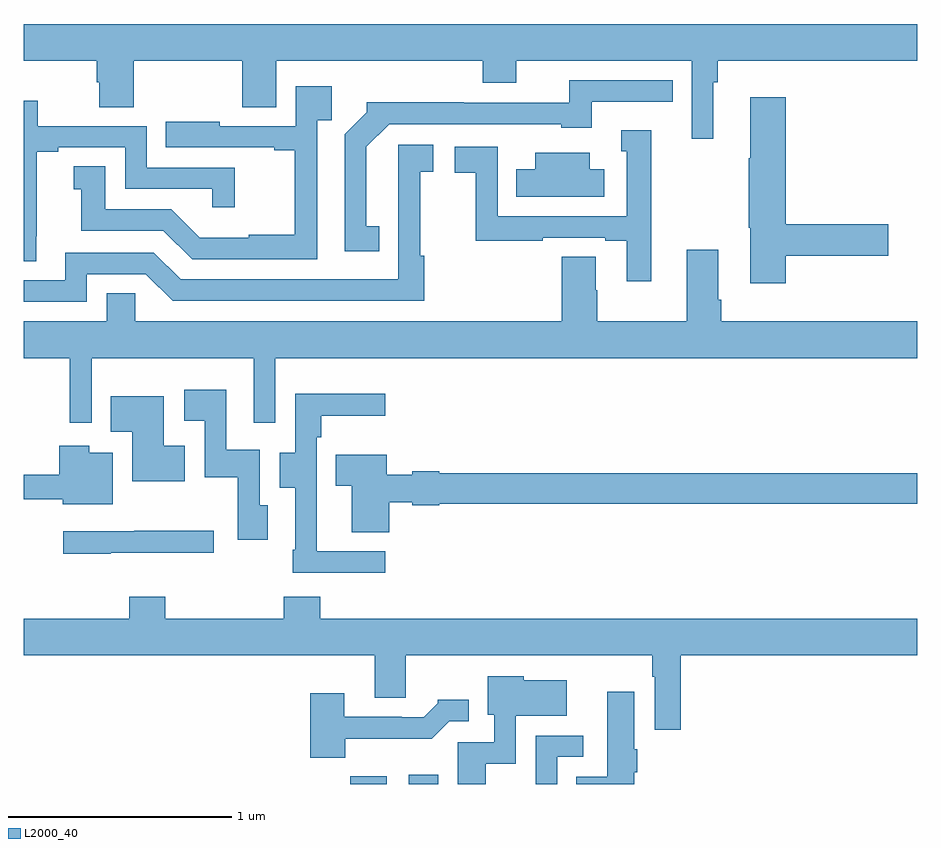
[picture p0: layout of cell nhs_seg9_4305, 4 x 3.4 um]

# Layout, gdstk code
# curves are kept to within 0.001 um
import gdstk
lib = gdstk.Library(unit=1e-6, precision=1e-09)
def R(c, l, rs):  # rectangles x0, y0, x1, y1
    for r in rs: c.add(gdstk.rectangle(r[:2], r[2:], *l))
def P(c, l, *ps):  # polygons
    for p in ps: c.add(gdstk.Polygon(p, *l))
L2000_40 = (2000, 40)

nhs_seg9_4305 = lib.new_cell('nhs_seg9_4305')
R(nhs_seg9_4305, L2000_40, [(358.462,1206.5,358.624,1206.535), (358.724,1206.5,358.855,1206.541)])
P(nhs_seg9_4305, L2000_40, [(360.088,1209.644),(360.107,1209.644),(360.107,1209.74),(361,1209.74),(361,1209.904),(357,1209.904),(357,1209.74),(357.326,1209.74),(357.326,1209.642),(357.338,1209.642),(357.338,1209.532),(357.491,1209.532),(357.491,1209.74),(357.977,1209.74),(357.977,1209.532),(358.129,1209.532),(358.129,1209.74),(359.054,1209.74),(359.054,1209.641),(359.206,1209.641),(359.206,1209.74),(359.991,1209.74),(359.991,1209.39),(360.088,1209.39)],
  [(358.592,1208.999),(358.534,1208.999),(358.534,1209.355),(358.635,1209.456),(359.406,1209.456),(359.406,1209.44),(359.542,1209.44),(359.542,1209.555),(359.906,1209.555),(359.906,1209.651),(359.443,1209.651),(359.443,1209.552),(358.97,1209.552),(358.97,1209.554),(358.536,1209.554),(358.536,1209.509),(358.437,1209.41),(358.437,1208.886),(358.592,1208.886)],
  [(358.314,1209.473),(358.379,1209.473),(358.379,1209.625),(358.218,1209.625),(358.218,1209.447),(357.877,1209.447),(357.877,1209.466),(357.634,1209.466),(357.634,1209.351),(358.121,1209.351),(358.121,1209.339),(358.213,1209.339),(358.213,1208.959),(358.007,1208.959),(358.007,1208.947),(357.788,1208.947),(357.66,1209.075),(357.364,1209.075),(357.364,1209.266),(357.224,1209.266),(357.224,1209.163),(357.257,1209.163),(357.257,1208.979),(357.624,1208.979),(357.753,1208.85),(358.314,1208.85)],
  [(360.413,1208.866),(360.871,1208.866),(360.871,1209.008),(360.413,1209.008),(360.413,1209.577),(360.254,1209.577),(360.254,1209.302),(360.247,1209.302),(360.247,1208.991),(360.254,1208.991),(360.254,1208.742),(360.413,1208.742)],
  [(357.056,1208.953),(357.058,1208.953),(357.058,1209.331),(357.154,1209.331),(357.154,1209.351),(357.453,1209.351),(357.453,1209.165),(357.843,1209.165),(357.843,1209.084),(357.944,1209.084),(357.944,1209.261),(357.549,1209.261),(357.549,1209.447),(357.062,1209.447),(357.062,1209.561),(357,1209.561),(357,1208.842),(357.056,1208.842)],
  [(359.809,1209.427),(359.675,1209.427),(359.675,1209.333),(359.7,1209.333),(359.7,1209.042),(359.121,1209.042),(359.121,1209.354),(358.929,1209.354),(358.929,1209.238),(359.023,1209.238),(359.023,1208.934),(359.324,1208.934),(359.324,1208.946),(359.603,1208.946),(359.603,1208.934),(359.699,1208.934),(359.699,1208.751),(359.809,1208.751)],
  [(357.282,1208.784),(357.546,1208.784),(357.666,1208.664),(358.793,1208.664),(358.793,1208.867),(358.776,1208.867),(358.776,1209.243),(358.834,1209.243),(358.834,1209.364),(358.676,1209.364),(358.677,1208.76),(357.702,1208.76),(357.582,1208.88),(357.186,1208.88),(357.186,1208.757),(357,1208.757),(357,1208.661),(357.282,1208.661)],
  [(359.599,1209.253),(359.533,1209.253),(359.533,1209.328),(359.291,1209.328),(359.291,1209.253),(359.206,1209.253),(359.206,1209.131),(359.599,1209.131)],
  [(357.303,1208.408),(358.029,1208.408),(358.029,1208.118),(358.125,1208.118),(358.125,1208.408),(361,1208.408),(361,1208.572),(360.122,1208.572),(360.122,1208.668),(360.109,1208.668),(360.109,1208.893),(359.969,1208.893),(359.969,1208.572),(359.568,1208.572),(359.568,1208.711),(359.56,1208.711),(359.56,1208.861),(359.408,1208.861),(359.408,1208.572),(357.498,1208.572),(357.498,1208.699),(357.371,1208.699),(357.371,1208.572),(357,1208.572),(357,1208.408),(357.205,1208.408),(357.205,1208.118),(357.303,1208.118)],
  [(358.093,1207.749),(358.056,1207.749),(358.056,1207.996),(357.906,1207.996),(357.906,1208.266),(357.717,1208.266),(357.717,1208.126),(357.81,1208.126),(357.81,1207.874),(357.958,1207.874),(357.958,1207.593),(358.093,1207.593)],
  [(358.618,1207.542),(358.312,1207.542),(358.312,1207.739),(358.311,1207.739),(358.311,1208.054),(358.331,1208.054),(358.331,1208.15),(358.618,1208.15),(358.618,1208.248),(358.215,1208.248),(358.215,1207.983),(358.145,1207.983),(358.145,1207.828),(358.215,1207.828),(358.215,1207.549),(358.203,1207.549),(358.203,1207.446),(358.618,1207.446)],
  [(357.721,1208.014),(357.625,1208.014),(357.625,1208.236),(357.388,1208.236),(357.388,1208.078),(357.485,1208.078),(357.485,1207.856),(357.721,1207.856)],
  [(357.397,1207.984),(357.292,1207.984),(357.292,1208.014),(357.158,1208.014),(357.158,1207.885),(357,1207.885),(357,1207.775),(357.174,1207.775),(357.174,1207.754),(357.397,1207.754)],
  [(358.637,1207.763),(358.74,1207.763),(358.74,1207.748),(358.86,1207.748),(358.86,1207.756),(361,1207.756),(361,1207.892),(358.86,1207.892),(358.86,1207.9),(358.74,1207.9),(358.74,1207.885),(358.624,1207.885),(358.624,1207.975),(358.396,1207.975),(358.396,1207.835),(358.469,1207.835),(358.469,1207.627),(358.637,1207.627)],
  [(357.389,1207.535),(357.85,1207.535),(357.85,1207.635),(357.493,1207.635),(357.493,1207.632),(357.177,1207.632),(357.177,1207.531),(357.389,1207.531)],
  [(358.328,1207.339),(358.163,1207.339),(358.163,1207.24),(357.632,1207.24),(357.632,1207.339),(357.472,1207.339),(357.472,1207.24),(357,1207.24),(357,1207.076),(358.571,1207.076),(358.571,1206.886),(358.711,1206.886),(358.711,1207.076),(359.814,1207.076),(359.814,1206.98),(359.826,1206.98),(359.826,1206.744),(359.942,1206.744),(359.942,1207.076),(361,1207.076),(361,1207.24),(358.328,1207.24)],
  [(359.068,1206.59),(359.202,1206.59),(359.202,1206.806),(359.431,1206.806),(359.431,1206.964),(359.238,1206.964),(359.238,1206.982),(359.078,1206.982),(359.078,1206.81),(359.106,1206.81),(359.106,1206.687),(358.943,1206.687),(358.943,1206.5),(359.068,1206.5)],
  [(359.734,1206.553),(359.747,1206.553),(359.747,1206.656),(359.734,1206.656),(359.734,1206.913),(359.612,1206.913),(359.612,1206.532),(359.473,1206.532),(359.473,1206.5),(359.734,1206.5)],
  [(358.438,1206.702),(358.827,1206.702),(358.905,1206.78),(358.993,1206.78),(358.993,1206.877),(358.854,1206.877),(358.854,1206.862),(358.79,1206.798),(358.691,1206.798),(358.691,1206.801),(358.435,1206.801),(358.435,1206.907),(358.283,1206.907),(358.283,1206.617),(358.438,1206.617)],
  [(359.388,1206.621),(359.506,1206.621),(359.506,1206.717),(359.292,1206.717),(359.292,1206.5),(359.388,1206.5)])

lib.write_gds('nhs_seg9_4305.gds')
